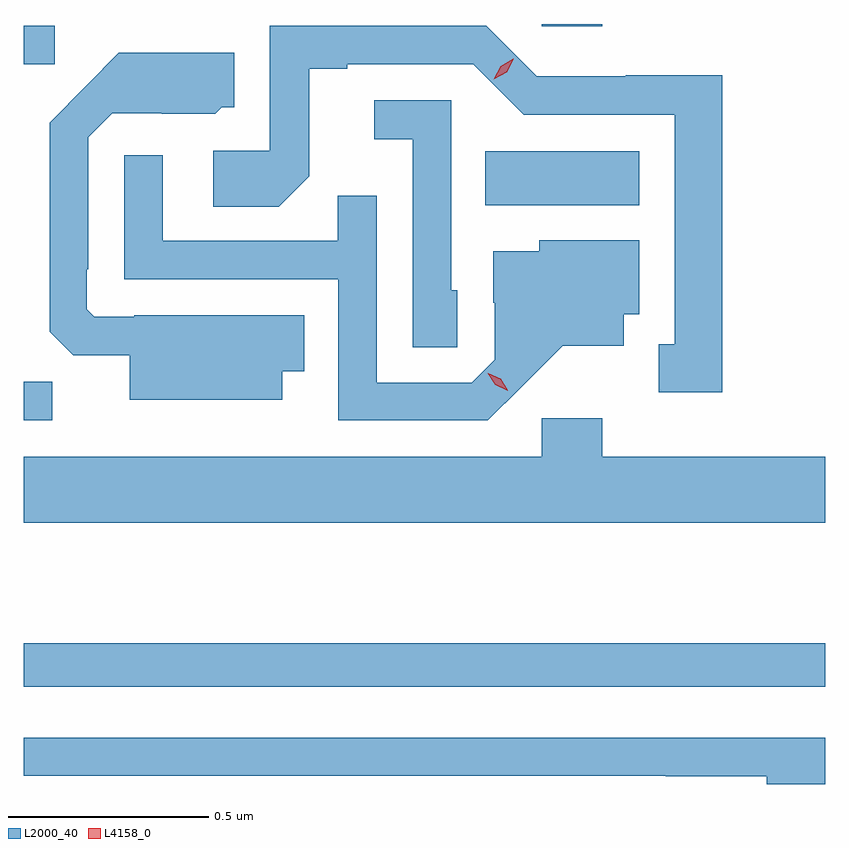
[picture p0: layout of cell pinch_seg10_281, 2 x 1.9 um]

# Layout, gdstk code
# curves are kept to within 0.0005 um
import gdstk
lib = gdstk.Library(unit=1e-6, precision=1e-09)
def R(c, l, rs):  # rectangles x0, y0, x1, y1
    for r in rs: c.add(gdstk.rectangle(r[:2], r[2:], *l))
def P(c, l, *ps):  # polygons
    for p in ps: c.add(gdstk.Polygon(p, *l))
L2000_40 = (2000, 40)
L4158_0 = (4158, 0)

pinch_seg10_281 = lib.new_cell('pinch_seg10_281')
R(pinch_seg10_281, L2000_40, [(515.836,1291.914,517.836,1292.023), (515.836,1292.58,515.907,1292.675), (516.988,1293.116,517.372,1293.25), (515.836,1293.468,515.914,1293.564), (517.128,1293.563,517.28,1293.568)])
P(pinch_seg10_281, L2000_40, [(517.579,1293.44),(517.338,1293.44),(517.338,1293.438),(517.116,1293.438),(516.99,1293.564),(516.45,1293.564),(516.45,1293.252),(516.309,1293.252),(516.309,1293.112),(516.473,1293.112),(516.549,1293.188),(516.549,1293.456),(516.643,1293.456),(516.643,1293.468),(516.957,1293.468),(517.083,1293.342),(517.46,1293.342),(517.46,1292.769),(517.421,1292.769),(517.421,1292.649),(517.579,1292.649)],
  [(516.481,1292.702),(516.536,1292.702),(516.536,1292.842),(516.112,1292.842),(516.112,1292.838),(516.012,1292.838),(515.994,1292.856),(515.994,1292.956),(515.997,1292.956),(515.997,1293.285),(516.057,1293.345),(516.18,1293.345),(516.18,1293.344),(516.314,1293.344),(516.33,1293.36),(516.361,1293.36),(516.361,1293.496),(516.073,1293.496),(515.901,1293.322),(515.901,1292.8),(515.96,1292.741),(516.101,1292.741),(516.101,1292.63),(516.481,1292.63)],
  [(516.918,1292.904),(516.903,1292.904),(516.903,1293.378),(516.711,1293.378),(516.711,1293.281),(516.807,1293.281),(516.807,1292.761),(516.918,1292.761)],
  [(517.078,1292.663),(517.181,1292.765),(517.333,1292.765),(517.333,1292.844),(517.372,1292.844),(517.372,1293.028),(517.122,1293.028),(517.122,1293.001),(517.007,1293.001),(517.007,1292.872),(517.011,1292.872),(517.011,1292.73),(516.954,1292.673),(516.717,1292.673),(516.717,1293.14),(516.619,1293.14),(516.619,1293.027),(516.183,1293.027),(516.183,1293.241),(516.087,1293.241),(516.087,1292.931),(516.621,1292.931),(516.621,1292.58),(516.994,1292.58)],
  [(517.836,1292.488),(517.28,1292.488),(517.28,1292.584),(517.128,1292.584),(517.128,1292.488),(515.836,1292.488),(515.836,1292.324),(517.836,1292.324)],
  [(517.836,1291.788),(515.836,1291.788),(515.836,1291.692),(517.438,1291.692),(517.438,1291.691),(517.69,1291.691),(517.69,1291.672),(517.836,1291.672)])
P(pinch_seg10_281, L4158_0, [(517.044,1292.653),(517.013,1292.668),(516.994,1292.697),(516.994,1292.697),(516.995,1292.697),(517.026,1292.683),(517.044,1292.654),(517.044,1292.653)],
  [(517.009,1293.43),(517.009,1293.43),(517.026,1293.462),(517.058,1293.481),(517.059,1293.481),(517.059,1293.481),(517.041,1293.448),(517.009,1293.43)])

lib.write_gds('pinch_seg10_281.gds')
